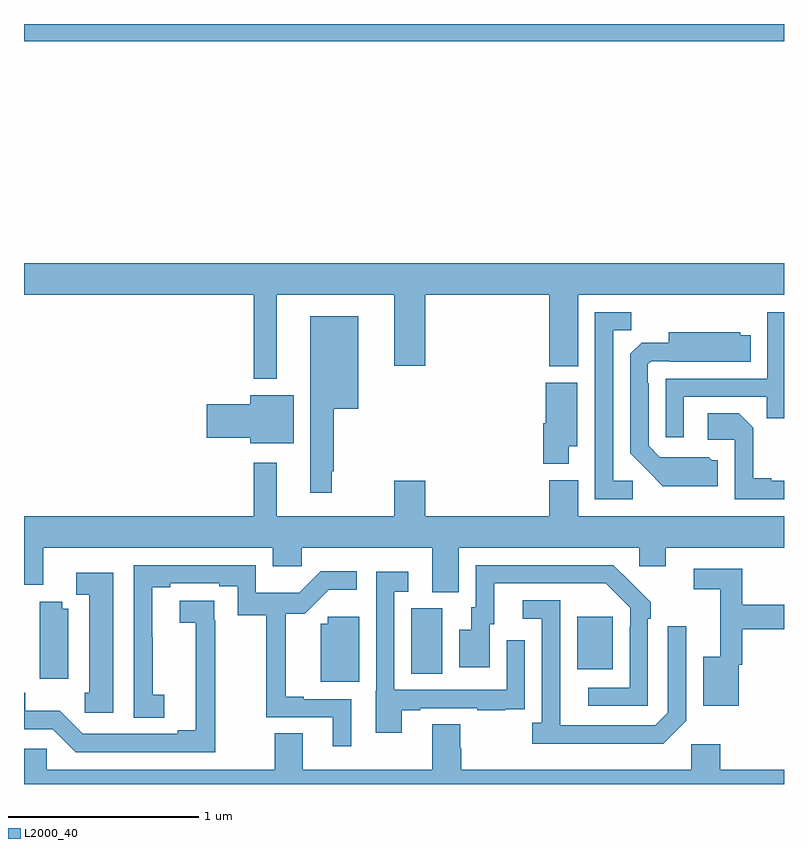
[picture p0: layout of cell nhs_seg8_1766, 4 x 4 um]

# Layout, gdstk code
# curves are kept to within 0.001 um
import gdstk
lib = gdstk.Library(unit=1e-6, precision=1e-09)
def R(c, l, rs):  # rectangles x0, y0, x1, y1
    for r in rs: c.add(gdstk.rectangle(r[:2], r[2:], *l))
def P(c, l, *ps):  # polygons
    for p in ps: c.add(gdstk.Polygon(p, *l))
L2000_40 = (2000, 40)

nhs_seg8_1766 = lib.new_cell('nhs_seg8_1766')
R(nhs_seg8_1766, L2000_40, [(225.038,1138.48,225.202,1138.824), (225.911,1138.505,226.099,1138.78), (223,1141.808,227,1141.9)])
P(nhs_seg8_1766, L2000_40, [(224.329,1140.476),(224.948,1140.476),(224.948,1140.102),(225.112,1140.102),(225.112,1140.476),(225.764,1140.476),(225.764,1140.098),(225.916,1140.098),(225.916,1140.476),(227,1140.476),(227,1140.64),(223,1140.64),(223,1140.476),(224.208,1140.476),(224.208,1140.032),(224.329,1140.032)],
  [(226.473,1139.937),(226.909,1139.937),(226.909,1139.824),(227,1139.824),(227,1140.384),(226.911,1140.384),(226.911,1140.033),(226.377,1140.033),(226.377,1139.724),(226.473,1139.724)],
  [(226.204,1139.496),(226.101,1139.496),(226.101,1140.289),(226.197,1140.289),(226.197,1140.384),(226.005,1140.384),(226.005,1139.4),(226.204,1139.4)],
  [(224.621,1139.545),(224.629,1139.545),(224.629,1139.876),(224.758,1139.876),(224.758,1140.361),(224.507,1140.361),(224.507,1139.433),(224.621,1139.433)],
  [(226.651,1139.604),(226.62,1139.604),(226.604,1139.62),(226.347,1139.619),(226.287,1139.679),(226.287,1140.008),(226.284,1140.008),(226.284,1140.108),(226.302,1140.126),(226.402,1140.126),(226.402,1140.122),(226.826,1140.122),(226.826,1140.262),(226.77,1140.262),(226.77,1140.277),(226.394,1140.277),(226.394,1140.223),(226.25,1140.223),(226.191,1140.164),(226.191,1139.642),(226.363,1139.468),(226.651,1139.468)],
  [(225.868,1139.678),(225.913,1139.678),(225.913,1140.013),(225.746,1140.013),(225.746,1139.799),(225.734,1139.799),(225.734,1139.585),(225.868,1139.585)],
  [(224.419,1139.947),(224.192,1139.947),(224.192,1139.9),(223.962,1139.9),(223.962,1139.722),(224.192,1139.722),(224.192,1139.693),(224.419,1139.693)],
  [(227,1139.496),(226.933,1139.496),(226.933,1139.509),(226.839,1139.509),(226.839,1139.776),(226.763,1139.852),(226.599,1139.852),(226.599,1139.712),(226.74,1139.712),(226.74,1139.4),(227,1139.4)],
  [(225.289,1139.144),(226.239,1139.144),(226.239,1139.046),(226.378,1139.046),(226.378,1139.144),(227,1139.144),(227,1139.308),(225.916,1139.308),(225.916,1139.5),(225.764,1139.5),(225.764,1139.308),(225.112,1139.308),(225.112,1139.497),(224.948,1139.497),(224.948,1139.308),(224.329,1139.308),(224.329,1139.59),(224.208,1139.59),(224.208,1139.308),(223,1139.308),(223,1138.95),(223.102,1138.95),(223.102,1139.144),(224.309,1139.144),(224.309,1139.046),(224.461,1139.046),(224.461,1139.144),(225.149,1139.144),(225.149,1138.909),(225.289,1138.909)],
  [(226.284,1138.769),(226.299,1138.769),(226.299,1138.857),(226.102,1139.052),(225.378,1139.052),(225.378,1138.83),(225.353,1138.83),(225.353,1138.711),(225.29,1138.711),(225.29,1138.515),(225.451,1138.515),(225.451,1138.74),(225.475,1138.74),(225.475,1138.956),(226.063,1138.956),(226.191,1138.827),(226.191,1138.727),(226.188,1138.727),(226.188,1138.407),(225.969,1138.407),(225.969,1138.311),(226.284,1138.311)],
  [(224.722,1138.347),(224.473,1138.347),(224.473,1138.36),(224.378,1138.36),(224.378,1138.797),(224.477,1138.797),(224.603,1138.922),(224.752,1138.922),(224.752,1139.019),(224.562,1139.019),(224.449,1138.906),(224.22,1138.906),(224.22,1139.052),(223.578,1139.052),(223.578,1138.249),(223.738,1138.249),(223.738,1138.369),(223.677,1138.369),(223.677,1138.673),(223.675,1138.673),(223.675,1138.936),(223.771,1138.936),(223.771,1138.956),(224.027,1138.956),(224.027,1138.942),(224.124,1138.942),(224.124,1138.789),(224.275,1138.789),(224.275,1138.251),(224.624,1138.251),(224.624,1138.098),(224.722,1138.098)],
  [(226.762,1138.527),(226.781,1138.527),(226.781,1138.714),(227,1138.714),(227,1138.843),(226.781,1138.843),(226.781,1139.034),(226.524,1139.034),(226.524,1138.926),(226.664,1138.926),(226.664,1138.57),(226.574,1138.57),(226.574,1138.313),(226.762,1138.313)],
  [(224.989,1138.287),(225.085,1138.287),(225.085,1138.299),(225.385,1138.299),(225.385,1138.287),(225.533,1138.287),(225.533,1138.293),(225.635,1138.293),(225.635,1138.402),(225.636,1138.402),(225.636,1138.657),(225.54,1138.657),(225.54,1138.395),(224.949,1138.395),(224.949,1138.911),(225.022,1138.911),(225.022,1139.017),(224.853,1139.017),(224.853,1138.392),(224.852,1138.392),(224.852,1138.17),(224.989,1138.17)],
  [(223.471,1139.011),(223.275,1139.011),(223.275,1138.896),(223.343,1138.896),(223.343,1138.38),(223.321,1138.38),(223.321,1138.275),(223.471,1138.275)],
  [(226.485,1138.233),(226.485,1138.729),(226.389,1138.729),(226.389,1138.275),(226.323,1138.209),(225.823,1138.209),(225.822,1138.866),(225.624,1138.866),(225.624,1138.77),(225.726,1138.77),(225.726,1138.222),(225.675,1138.222),(225.675,1138.112),(226.364,1138.112)],
  [(224.006,1138.763),(224,1138.763),(224,1138.865),(223.821,1138.865),(223.821,1138.75),(223.903,1138.75),(223.904,1138.184),(223.808,1138.184),(223.808,1138.164),(223.308,1138.164),(223.187,1138.285),(223.006,1138.285),(223.006,1138.381),(223,1138.381),(223,1138.188),(223.152,1138.188),(223.272,1138.068),(224.006,1138.068)],
  [(223.234,1138.822),(223.202,1138.822),(223.202,1138.859),(223.082,1138.859),(223.082,1138.455),(223.234,1138.455)],
  [(224.764,1138.78),(224.598,1138.78),(224.598,1138.744),(224.561,1138.744),(224.561,1138.439),(224.764,1138.439)],
  [(226.664,1138.108),(226.512,1138.108),(226.512,1137.976),(225.302,1137.976),(225.302,1138.089),(225.297,1138.089),(225.297,1138.214),(225.149,1138.214),(225.149,1137.976),(224.467,1137.976),(224.467,1138.166),(224.32,1138.166),(224.32,1137.976),(223.119,1137.976),(223.119,1138.086),(223,1138.086),(223,1137.9),(227,1137.9),(227,1137.976),(226.664,1137.976)])

lib.write_gds('nhs_seg8_1766.gds')
